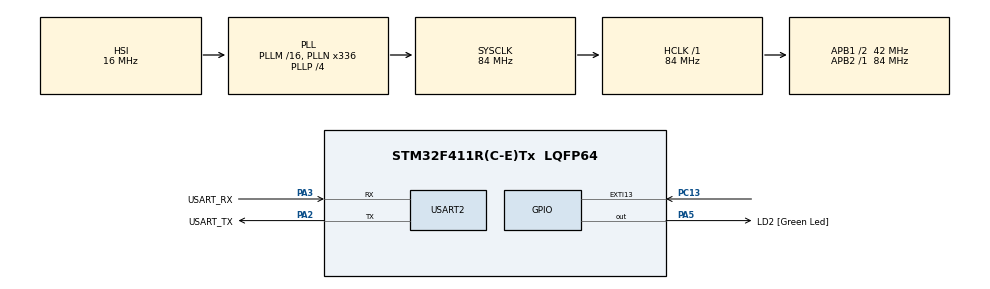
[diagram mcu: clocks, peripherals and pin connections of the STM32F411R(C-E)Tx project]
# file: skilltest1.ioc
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Mcu.Family=STM32F4
Mcu.Name=STM32F411R(C-E)Tx
Mcu.Package=LQFP64
NVIC.EXTI15_10_IRQn=true\:0\:0\:true\:false\:true\:true\:true\:true
NVIC.PriorityGroup=NVIC_PRIORITYGROUP_0
PA13.GPIO_Label=TMS
PA13.Mode=Serial_Wire
PA13.Signal=SYS_JTMS-SWDIO
PA14.GPIO_Label=TCK
PA14.Mode=Serial_Wire
PA14.Signal=SYS_JTCK-SWCLK
PA2.GPIO_Label=USART_TX
PA2.Mode=Asynchronous
PA2.Signal=USART2_TX
PA3.GPIO_Label=USART_RX
PA3.Mode=Asynchronous
PA3.Signal=USART2_RX
PA5.GPIO_Label=LD2 [Green Led]
PA5.Signal=GPIO_Output
PB3.GPIO_Label=SWO
PB3.Signal=SYS_JTDO-SWO
PC13-ANTI_TAMP.GPIO_ModeDefaultEXTI=GPIO_MODE_IT_RISING_FALLING
PC13-ANTI_TAMP.Signal=GPXTI13
PC14-OSC32_IN.Mode=LSE-External-Oscillator
PC14-OSC32_IN.Signal=RCC_OSC32_IN
PC15-OSC32_OUT.Mode=LSE-External-Oscillator
PC15-OSC32_OUT.Signal=RCC_OSC32_OUT
PH0\ -\ OSC_IN.Mode=HSE-External-Clock-Source
PH0\ -\ OSC_IN.Signal=RCC_OSC_IN
PH1\ -\ OSC_OUT.Mode=HSE-External-Clock-Source
PH1\ -\ OSC_OUT.Signal=RCC_OSC_OUT
ProjectManager.HeapSize=0x200
ProjectManager.StackSize=0x400
ProjectManager.TargetToolchain=STM32CubeIDE
RCC.48MHZClocksFreq_Value=84000000
RCC.AHBFreq_Value=84000000
RCC.APB1CLKDivider=RCC_HCLK_DIV2
RCC.APB1Freq_Value=42000000
RCC.APB1TimFreq_Value=84000000
RCC.APB2Freq_Value=84000000
RCC.APB2TimFreq_Value=84000000
RCC.CortexFreq_Value=84000000
RCC.FLatency-AdvancedSettings=FLASH_LATENCY_2
RCC.HCLKFreq_Value=84000000
RCC.HSE_VALUE=8000000
RCC.HSI_VALUE=16000000
RCC.PLLN=336
RCC.PLLP=RCC_PLLP_DIV4
RCC.SYSCLKFreq_VALUE=84000000
RCC.SYSCLKSource=RCC_SYSCLKSOURCE_PLLCLK
RCC.VCOOutputFreq_Value=336000000
USART2.VirtualMode=VM_ASYNC
board=NUCLEO-F411RE

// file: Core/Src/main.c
/* USER CODE BEGIN Header */
/**
 ******************************************************************************
 * @file           : main.c
 * @brief          : Main program body
 ******************************************************************************
 * @attention
 *
 * Copyright (c) 2024 STMicroelectronics.
 * All rights reserved.
 *
 * This software is licensed under terms that can be found in the LICENSE file
 * in the root directory of this software component.
 * If no LICENSE file comes with this software, it is provided AS-IS.
 *
 ******************************************************************************
 */
/* USER CODE END Header */
#include "main.h"

UART_HandleTypeDef huart2;

void SystemClock_Config(void);
static void MX_GPIO_Init(void);
static void MX_USART2_UART_Init(void);

/* USER CODE BEGIN 0 */
uint8_t studentID[10]; // 6531347621
uint8_t clickCount = 0;
uint8_t showIndex = 0;
sprintf(studentID, "6531347621");

uint8_t state = 2;
uint8_t isPushing = 0;
uint32_t lastPushTick = 0;
uint32_t debounceTick = 50;

void HAL_GPIO_EXTI_Callback(uint16_t GPIO_Pin) {
	if (HAL_GetTick() - lastPushTick < debounceTick) {
		return;
	}

	if (isPushing == 0
			&& HAL_GPIO_ReadPin(GPIOC, GPIO_Pin_13) == GPIO_PIN_RESET) {
		showIndex = (clickCount % 10);
		HAL_UART_Transmit(&huart2, studentID + showIndex, 1, 1000);

		clickCount++;
		isPushing = 1;
		lastPushTick = HAL_GetTick();
	}

	if (isPushing == 1
			&& HAL_GPIO_ReadPin(GPIOC, GPIO_Pin_13) == GPIO_PIN_SET) {
		isPushing = 0;
	}
}
/* USER CODE END 0 */

int main(void) {

	/* MCU Configuration--------------------------------------------------------*/

	/* Reset of all peripherals, Initializes the Flash interface and the Systick. */
	HAL_Init();

	/* Configure the system clock */
	SystemClock_Config();

	/* Initialize all configured peripherals */
	MX_GPIO_Init();
	MX_USART2_UART_Init();

	/* Infinite loop */
	while (1) {

		/* USER CODE BEGIN 3 */

		HAL_GPIO_TogglePin(GPIOA, GPIO_PIN_5);
		HAL_Delay(50);
	}
	/* USER CODE END 3 */
}

void SystemClock_Config(void) {
	RCC_OscInitTypeDef RCC_OscInitStruct = { 0 };
	RCC_ClkInitTypeDef RCC_ClkInitStruct = { 0 };

	/** Configure the main internal regulator output voltage
	 */
	__HAL_RCC_PWR_CLK_ENABLE();
	__HAL_PWR_VOLTAGESCALING_CONFIG(PWR_REGULATOR_VOLTAGE_SCALE1);

	/** Initializes the RCC Oscillators according to the specified parameters
	 * in the RCC_OscInitTypeDef structure.
	 */
	RCC_OscInitStruct.OscillatorType = RCC_OSCILLATORTYPE_HSI;
	RCC_OscInitStruct.HSIState = RCC_HSI_ON;
	RCC_OscInitStruct.HSICalibrationValue = RCC_HSICALIBRATION_DEFAULT;
	RCC_OscInitStruct.PLL.PLLState = RCC_PLL_ON;
	RCC_OscInitStruct.PLL.PLLSource = RCC_PLLSOURCE_HSI;
	RCC_OscInitStruct.PLL.PLLM = 16;
	RCC_OscInitStruct.PLL.PLLN = 336;
	RCC_OscInitStruct.PLL.PLLP = RCC_PLLP_DIV4;
	RCC_OscInitStruct.PLL.PLLQ = 4;
	if (HAL_RCC_OscConfig(&RCC_OscInitStruct) != HAL_OK) {
		Error_Handler();
	}

	/** Initializes the CPU, AHB and APB buses clocks
	 */
	RCC_ClkInitStruct.ClockType = RCC_CLOCKTYPE_HCLK | RCC_CLOCKTYPE_SYSCLK
			| RCC_CLOCKTYPE_PCLK1 | RCC_CLOCKTYPE_PCLK2;
	RCC_ClkInitStruct.SYSCLKSource = RCC_SYSCLKSOURCE_PLLCLK;
	RCC_ClkInitStruct.AHBCLKDivider = RCC_SYSCLK_DIV1;
	RCC_ClkInitStruct.APB1CLKDivider = RCC_HCLK_DIV2;
	RCC_ClkInitStruct.APB2CLKDivider = RCC_HCLK_DIV1;

	if (HAL_RCC_ClockConfig(&RCC_ClkInitStruct, FLASH_LATENCY_2) != HAL_OK) {
		Error_Handler();
	}
}

static void MX_USART2_UART_Init(void) {

	huart2.Instance = USART2;
	huart2.Init.BaudRate = 115200;
	huart2.Init.WordLength = UART_WORDLENGTH_8B;
	huart2.Init.StopBits = UART_STOPBITS_1;
	huart2.Init.Parity = UART_PARITY_NONE;
	huart2.Init.Mode = UART_MODE_TX_RX;
	huart2.Init.HwFlowCtl = UART_HWCONTROL_NONE;
	huart2.Init.OverSampling = UART_OVERSAMPLING_16;
	if (HAL_UART_Init(&huart2) != HAL_OK) {
		Error_Handler();
	}

}

static void MX_GPIO_Init(void) {
	GPIO_InitTypeDef GPIO_InitStruct = { 0 };

	/* GPIO Ports Clock Enable */
	__HAL_RCC_GPIOC_CLK_ENABLE();
	__HAL_RCC_GPIOH_CLK_ENABLE();
	__HAL_RCC_GPIOA_CLK_ENABLE();
	__HAL_RCC_GPIOB_CLK_ENABLE();

	/*Configure GPIO pin Output Level */
	HAL_GPIO_WritePin(LD2_GPIO_Port, LD2_Pin, GPIO_PIN_RESET);

	/*Configure GPIO pin : PC13 */
	GPIO_InitStruct.Pin = GPIO_PIN_13;
	GPIO_InitStruct.Mode = GPIO_MODE_IT_RISING_FALLING;
	GPIO_InitStruct.Pull = GPIO_NOPULL;
	HAL_GPIO_Init(GPIOC, &GPIO_InitStruct);

	/*Configure GPIO pin : LD2_Pin */
	GPIO_InitStruct.Pin = LD2_Pin;
	GPIO_InitStruct.Mode = GPIO_MODE_OUTPUT_PP;
	GPIO_InitStruct.Pull = GPIO_NOPULL;
	GPIO_InitStruct.Speed = GPIO_SPEED_FREQ_LOW;
	HAL_GPIO_Init(LD2_GPIO_Port, &GPIO_InitStruct);

	/* EXTI interrupt init*/
	HAL_NVIC_SetPriority(EXTI15_10_IRQn, 0, 0);
	HAL_NVIC_EnableIRQ(EXTI15_10_IRQn);

}

void Error_Handler(void) {
	__disable_irq();
	while (1) {
	}
}
